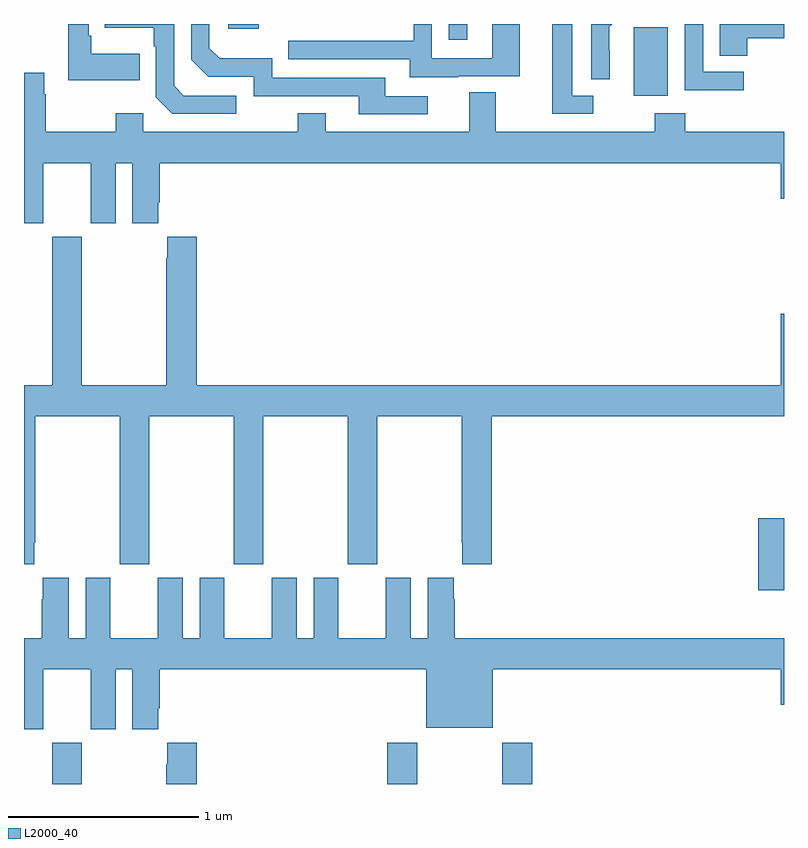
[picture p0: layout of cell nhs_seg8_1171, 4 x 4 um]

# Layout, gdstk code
import gdstk
lib = gdstk.Library(unit=1e-6, precision=1e-09)
def R(c, l, rs):  # rectangles x0, y0, x1, y1
    for r in rs: c.add(gdstk.rectangle(r[:2], r[2:], *l))
def P(c, l, *ps):  # polygons
    for p in ps: c.add(gdstk.Polygon(p, *l))
L2000_40 = (2000, 40)

nhs_seg8_1171 = lib.new_cell('nhs_seg8_1171')
R(nhs_seg8_1171, L2000_40, [(185.149,1111.9,185.304,1112.116), (186.911,1111.9,187.071,1112.116), (187.516,1111.9,187.676,1112.116), (188.864,1112.919,189,1113.3), (188.21,1115.522,188.389,1115.883), (187.236,1115.817,187.333,1115.9), (186.075,1115.876,186.236,1115.9)])
P(nhs_seg8_1171, L2000_40, [(187.126,1115.52),(186.901,1115.52),(186.901,1115.616),(186.306,1115.616),(186.306,1115.719),(186.029,1115.719),(185.976,1115.772),(185.976,1115.9),(185.88,1115.9),(185.88,1115.712),(185.97,1115.622),(186.21,1115.622),(186.21,1115.52),(186.761,1115.52),(186.761,1115.424),(187.126,1115.424)],
  [(187.996,1115.523),(187.885,1115.523),(187.885,1115.9),(187.781,1115.9),(187.781,1115.427),(187.996,1115.427)],
  [(187.285,1115.625),(187.609,1115.625),(187.609,1115.9),(187.464,1115.9),(187.464,1115.721),(187.146,1115.721),(187.146,1115.9),(187.05,1115.9),(187.05,1115.811),(186.391,1115.811),(186.391,1115.715),(187.031,1115.715),(187.031,1115.621),(187.285,1115.621)],
  [(186.118,1115.523),(185.841,1115.523),(185.79,1115.574),(185.79,1115.9),(185.425,1115.9),(185.425,1115.879),(185.682,1115.879),(185.682,1115.783),(185.694,1115.783),(185.694,1115.514),(185.781,1115.427),(186.118,1115.427)],
  [(188.788,1115.649),(188.574,1115.649),(188.574,1115.9),(188.478,1115.9),(188.478,1115.551),(188.788,1115.551)],
  [(188.082,1115.762),(188.081,1115.762),(188.081,1115.885),(188.096,1115.9),(187.986,1115.9),(187.986,1115.608),(188.082,1115.608)],
  [(188.807,1115.825),(189,1115.825),(189,1115.9),(188.663,1115.9),(188.663,1115.734),(188.807,1115.734)],
  [(185.609,1115.743),(185.353,1115.743),(185.353,1115.839),(185.34,1115.839),(185.34,1115.9),(185.232,1115.9),(185.232,1115.603),(185.609,1115.603)],
  [(185.101,1115.168),(185.351,1115.168),(185.351,1114.851),(185.482,1114.851),(185.482,1115.168),(185.57,1115.168),(185.57,1114.851),(185.707,1114.851),(185.707,1114.963),(185.714,1114.963),(185.714,1115.168),(188.984,1115.168),(188.984,1114.98),(189,1114.98),(189,1115.332),(188.48,1115.332),(188.48,1115.431),(188.32,1115.431),(188.32,1115.332),(187.483,1115.332),(187.483,1115.54),(187.343,1115.54),(187.343,1115.332),(186.589,1115.332),(186.589,1115.431),(186.442,1115.431),(186.442,1115.332),(185.628,1115.332),(185.628,1115.431),(185.482,1115.431),(185.482,1115.332),(185.115,1115.332),(185.115,1115.531),(185.107,1115.531),(185.107,1115.644),(185,1115.644),(185,1114.851),(185.101,1114.851)],
  [(186.103,1113.057),(186.258,1113.057),(186.258,1113.836),(186.703,1113.836),(186.703,1113.057),(186.858,1113.057),(186.858,1113.836),(187.303,1113.836),(187.303,1113.169),(187.307,1113.169),(187.307,1113.057),(187.463,1113.057),(187.463,1113.836),(189,1113.836),(189,1114.375),(188.984,1114.375),(188.984,1114),(185.909,1114),(185.909,1114.78),(185.753,1114.78),(185.753,1114.667),(185.749,1114.667),(185.749,1114),(185.304,1114),(185.304,1114.78),(185.149,1114.78),(185.149,1114),(185,1114),(185,1113.057),(185.053,1113.057),(185.053,1113.169),(185.058,1113.169),(185.058,1113.836),(185.503,1113.836),(185.503,1113.057),(185.658,1113.057),(185.658,1113.836),(186.103,1113.836)],
  [(185.101,1112.504),(185.351,1112.504),(185.351,1112.187),(185.482,1112.187),(185.482,1112.504),(185.57,1112.504),(185.57,1112.187),(185.707,1112.187),(185.707,1112.299),(185.714,1112.299),(185.714,1112.504),(187.118,1112.504),(187.118,1112.195),(187.468,1112.195),(187.468,1112.504),(188.984,1112.504),(188.984,1112.316),(189,1112.316),(189,1112.668),(187.268,1112.668),(187.268,1112.873),(187.261,1112.873),(187.261,1112.986),(187.124,1112.986),(187.124,1112.668),(187.036,1112.668),(187.036,1112.986),(186.905,1112.986),(186.905,1112.668),(186.655,1112.668),(186.655,1112.986),(186.524,1112.986),(186.524,1112.668),(186.436,1112.668),(186.436,1112.986),(186.305,1112.986),(186.305,1112.668),(186.055,1112.668),(186.055,1112.986),(185.924,1112.986),(185.924,1112.668),(185.836,1112.668),(185.836,1112.986),(185.705,1112.986),(185.705,1112.668),(185.455,1112.668),(185.455,1112.986),(185.324,1112.986),(185.324,1112.668),(185.236,1112.668),(185.236,1112.986),(185.099,1112.986),(185.099,1112.873),(185.093,1112.873),(185.093,1112.668),(185,1112.668),(185,1112.187),(185.101,1112.187)],
  [(185.909,1112.116),(185.753,1112.116),(185.753,1112.003),(185.749,1112.003),(185.749,1111.9),(185.909,1111.9)])

lib.write_gds('nhs_seg8_1171.gds')
